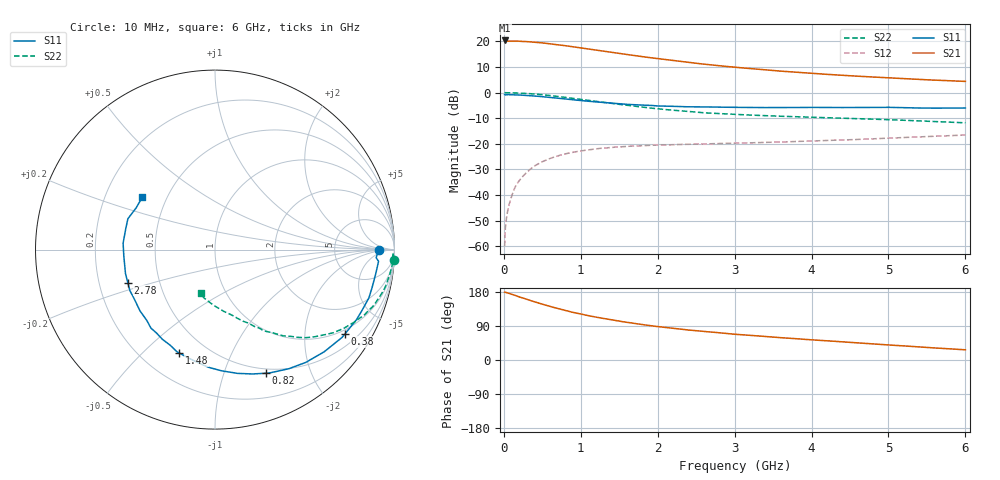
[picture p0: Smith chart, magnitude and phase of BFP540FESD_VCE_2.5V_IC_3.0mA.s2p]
! Infineon Technologies  Discrete & RF Semiconductors
! BFP540FESD
! VCE =  2.5 V,  IC =  3.0 mA
! Common Emitter S-Parameters:  Nov 2015
# GHz  S  MA  R  50
!  f  S11  S21  S12  S22
! GHz  MAG  ANG  MAG  ANG  MAG  ANG  MAG  ANG
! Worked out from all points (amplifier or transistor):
!   210 points, 10 MHz to 6 GHz, reference 50 ohm
!   highest |S21| = 20.4 dB at 10 MHz (marker M1)
!   |S21| within 3 dB of that: start of sweep to 1.021 GHz
!   unconditionally stable (mu >= 1): 3.124 GHz to end of sweep
!   at 185 MHz: K = 0.03, MSG = 27.6 dB, |S12| = -35.0 dB
!   at 1.52 GHz: K = 0.46, MSG = 18.2 dB, |S12| = -21.2 dB
!   at 6 GHz: K = 1.43, MAG = 6.6 dB, |S12| = -16.6 dB
!   S11 on the Smith chart (normalised r, x): 10 MHz: 22, +0; 380 MHz: 0.86, -3.17; 820 MHz: 0.45, -1.39; 1.48 GHz: 0.36, -0.65; 2.78 GHz: 0.33, -0.16; 6 GHz: 0.36, +0.28
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0.01  0.9118 0.0  10.42 179.0  0.001 79.5  0.9968 -3.4
0.02  0.8991 -2.9  10.08 178.8  0.0023 89.4  0.9926 -1.0
0.045  0.9112 -3.9  10.16 177.2  0.0045 89.1  0.9928 -2.3
0.12  0.9028 -10.5  10.15 172.2  0.0114 84.4  0.9886 -6.0
0.15  0.9003 -13.7  10.18 170.3  0.0147 84.0  0.9853 -7.4
0.2  0.8986 -17.4  10.05 166.5  0.019 81.8  0.9784 -9.8
0.26  0.886 -22.7  9.956 162.8  0.0243 78.1  0.9696 -12.8
0.38  0.863 -32.9  9.667 154.8  0.0352 72.3  0.9429 -18.3
0.5  0.8335 -43.0  9.355 147.3  0.0446 66.9  0.9082 -23.6
0.6  0.8068 -51.2  8.95 141.2  0.0516 63.6  0.875 -27.5
0.82  0.7444 -67.7  8.145 129.6  0.0646 55.2  0.7985 -35.7
1.02  0.6952 -81.1  7.38 120.5  0.0733 49.4  0.7314 -41.7
1.2  0.6563 -93.3  6.725 113.0  0.0798 44.7  0.6728 -46.6
1.48  0.6091 -109.2  5.867 103.0  0.0864 39.4  0.594 -53.0
1.8  0.5677 -125.0  5.031 93.3  0.0919 35.1  0.5214 -59.4
2.02  0.5465 -134.7  4.572 87.7  0.0943 32.9  0.4789 -63.0
2.4  0.5272 -148.5  3.873 79.1  0.0976 30.2  0.4293 -68.5
2.78  0.5194 -159.2  3.367 72.3  0.1014 29.2  0.3892 -73.6
3.1  0.5134 -167.2  3.035 66.6  0.1034 28.5  0.3687 -77.1
4.1  0.5119 174.4  2.321 52.0  0.1144 28.7  0.3258 -86.9
5.1  0.5104 158.9  1.907 38.5  0.1303 27.7  0.2919 -97.0
6  0.4994 144.1  1.653 26.9  0.148 26.0  0.2566 -108.2
